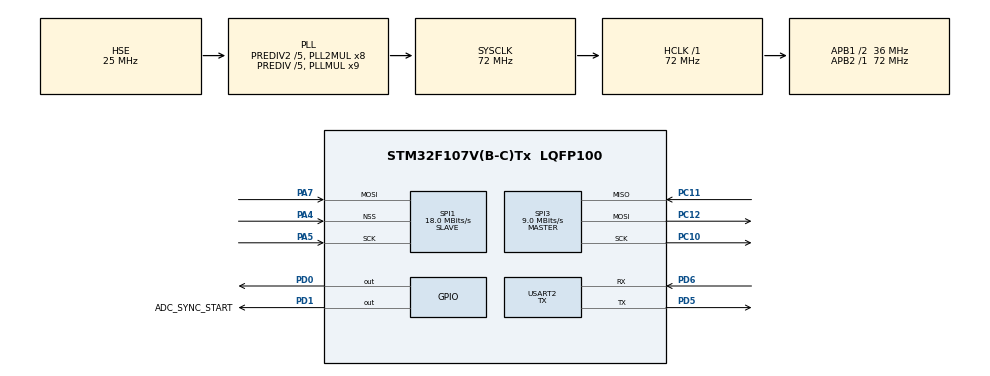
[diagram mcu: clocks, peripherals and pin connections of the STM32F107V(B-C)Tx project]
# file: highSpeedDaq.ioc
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Dma.Request0=SPI1_RX
Dma.Request1=USART2_TX
Dma.SPI1_RX.0.Direction=DMA_PERIPH_TO_MEMORY
Dma.SPI1_RX.0.Instance=DMA1_Channel2
Dma.SPI1_RX.0.MemDataAlignment=DMA_MDATAALIGN_BYTE
Dma.SPI1_RX.0.MemInc=DMA_MINC_ENABLE
Dma.SPI1_RX.0.Mode=DMA_NORMAL
Dma.SPI1_RX.0.PeriphDataAlignment=DMA_PDATAALIGN_BYTE
Dma.SPI1_RX.0.PeriphInc=DMA_PINC_DISABLE
Dma.SPI1_RX.0.Priority=DMA_PRIORITY_VERY_HIGH
Dma.USART2_TX.1.Direction=DMA_MEMORY_TO_PERIPH
Dma.USART2_TX.1.Instance=DMA1_Channel7
Dma.USART2_TX.1.MemDataAlignment=DMA_MDATAALIGN_BYTE
Dma.USART2_TX.1.MemInc=DMA_MINC_ENABLE
Dma.USART2_TX.1.Mode=DMA_NORMAL
Dma.USART2_TX.1.PeriphDataAlignment=DMA_PDATAALIGN_BYTE
Dma.USART2_TX.1.PeriphInc=DMA_PINC_DISABLE
Dma.USART2_TX.1.Priority=DMA_PRIORITY_LOW
Mcu.Family=STM32F1
Mcu.Name=STM32F107V(B-C)Tx
Mcu.Package=LQFP100
NVIC.DMA1_Channel2_IRQn=true\:0\:0\:false\:false\:true\:false\:true
NVIC.DMA1_Channel7_IRQn=true\:0\:0\:false\:false\:true\:false\:true
NVIC.PriorityGroup=NVIC_PRIORITYGROUP_4
OSC_IN.Mode=HSE-External-Oscillator
OSC_IN.Signal=RCC_OSC_IN
OSC_OUT.Mode=HSE-External-Oscillator
OSC_OUT.Signal=RCC_OSC_OUT
PA13.Mode=Serial_Wire
PA13.Signal=SYS_JTMS-SWDIO
PA14.Mode=Serial_Wire
PA14.Signal=SYS_JTCK-SWCLK
PA4.Mode=NSS_Signal_Hard_Input
PA4.Signal=SPI1_NSS
PA5.Mode=RX_Only_Simplex_Unidirect_Slave
PA5.Signal=SPI1_SCK
PA7.Mode=RX_Only_Simplex_Unidirect_Slave
PA7.Signal=SPI1_MOSI
PC10.Mode=Full_Duplex_Master
PC10.Signal=SPI3_SCK
PC11.Mode=Full_Duplex_Master
PC11.Signal=SPI3_MISO
PC12.Mode=Full_Duplex_Master
PC12.Signal=SPI3_MOSI
PD0.Signal=GPIO_Output
PD1.GPIO_Label=ADC_SYNC_START
PD1.Signal=GPIO_Output
PD5.Mode=Asynchronous
PD5.Signal=USART2_TX
PD6.Mode=Asynchronous
PD6.Signal=USART2_RX
ProjectManager.HeapSize=0x200
ProjectManager.StackSize=0x400
ProjectManager.TargetToolchain=STM32CubeIDE
RCC.AHBFreq_Value=72000000
RCC.APB1CLKDivider=RCC_HCLK_DIV2
RCC.APB1Freq_Value=36000000
RCC.APB1TimFreq_Value=72000000
RCC.APB2Freq_Value=72000000
RCC.APB2TimFreq_Value=72000000
RCC.HCLKFreq_Value=72000000
RCC.HSEDivPLL=RCC_HSE_PREDIV_DIV5
RCC.HSE_VALUE=25000000
RCC.PLLMUL=RCC_PLL_MUL9
RCC.PLLSourceVirtual=RCC_PLLSOURCE_HSE
RCC.Prediv1Source=RCC_PREDIV1_SOURCE_PLL2
RCC.Prediv2=RCC_HSE_PREDIV2_DIV5
RCC.SYSCLKFreq_VALUE=72000000
RCC.SYSCLKSource=RCC_SYSCLKSOURCE_PLLCLK
RCC.USBFreq_Value=48000000
SPI1.BaudRatePrescaler=SPI_BAUDRATEPRESCALER_4
SPI1.CLKPolarity=SPI_POLARITY_HIGH
SPI1.CalculateBaudRate=18.0 MBits/s
SPI1.DataSize=SPI_DATASIZE_8BIT
SPI1.Direction=SPI_DIRECTION_2LINES_RXONLY
SPI1.Mode=SPI_MODE_SLAVE
SPI1.VirtualNSS=VM_NSSHARD
SPI1.VirtualType=VM_SLAVE
SPI3.BaudRatePrescaler=SPI_BAUDRATEPRESCALER_4
SPI3.CalculateBaudRate=9.0 MBits/s
SPI3.Direction=SPI_DIRECTION_2LINES
SPI3.Mode=SPI_MODE_MASTER
SPI3.VirtualType=VM_MASTER
USART2.Mode=MODE_TX
USART2.VirtualMode=VM_ASYNC
board=custom

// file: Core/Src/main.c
/* USER CODE BEGIN Header */
/**
 ******************************************************************************
 * @file           : main.c
 * @brief          : Main program body
 ******************************************************************************
 * @attention
 *
 * <h2><center>&copy; Copyright (c) 2021 STMicroelectronics.
 * All rights reserved.</center></h2>
 *
 * This software component is licensed by ST under BSD 3-Clause license,
 * the "License"; You may not use this file except in compliance with the
 * License. You may obtain a copy of the License at:
 *                        opensource.org/licenses/BSD-3-Clause
 *
 ******************************************************************************
 */
/* USER CODE END Header */
#include "main.h"

/* USER CODE BEGIN Includes */
#include "debug.h"
#include "dwt.h"
#include "ad7768.h"

/* USER CODE END Includes */

/* USER CODE BEGIN PD */
#define SAMPLE_TOTAL_SIZE	10240
#define SAMPLE_DMA_SIZE		1024
#define SAMPLE_SIZE			64

/* USER CODE END PD */

SPI_HandleTypeDef hspi1;
SPI_HandleTypeDef hspi3;
DMA_HandleTypeDef hdma_spi1_rx;

UART_HandleTypeDef huart2;
DMA_HandleTypeDef hdma_usart2_tx;

void SystemClock_Config(void);
static void MX_GPIO_Init(void);
static void MX_DMA_Init(void);
static void MX_SPI3_Init(void);
static void MX_SPI1_Init(void);
static void MX_USART2_UART_Init(void);

/* USER CODE BEGIN 0 */

uint8_t EXTI0_Flag = 0;
uint8_t SPI_RxDMABuffer[SAMPLE_DMA_SIZE * 10] = {0};
uint8_t SPI_RxBuffer[1024] = {0};
uint8_t started = 0;
uint32_t RxBuf_Idn = 0;
uint32_t RxBufDMA_Idn = 0;

uint32_t extCnt = 0;
void HAL_GPIO_EXTI_Callback(uint16_t GPIO_Pin)
{

	if (GPIO_Pin == GPIO_PIN_4)
	{
		__HAL_SPI_ENABLE(&hspi1);
		//__HAL_GPIO_EXTI_CLEAR_IT(EXTI4_IRQn);
		EXTI0_Flag = 1;

		HAL_GPIO_WritePin(GPIOD, GPIO_PIN_6, extCnt%2);
		extCnt++;
	}

}

void HAL_SPI_RxHalfCpltCallback(SPI_HandleTypeDef *hspi)
{
	//dbg_printf("RX\r\n");
}

void HAL_SPI_RxCpltCallback(SPI_HandleTypeDef *hspi)
{
	//dbg_printf("RX ALL\r\n");
	__HAL_SPI_DISABLE(&hspi1);

	RxBufDMA_Idn += SAMPLE_DMA_SIZE;
	__HAL_DMA_DISABLE_IT(&hdma_spi1_rx, DMA_IT_HT);
	__HAL_DMA_ENABLE_IT(&hdma_spi1_rx, DMA_IT_TC);
	HAL_SPI_Receive_DMA(&hspi1, &SPI_RxDMABuffer[RxBufDMA_Idn], SAMPLE_DMA_SIZE);
}

/* USER CODE END 0 */

int main(void)
{

  /* MCU Configuration--------------------------------------------------------*/

  /* Reset of all peripherals, Initializes the Flash interface and the Systick. */
  HAL_Init();

  /* Configure the system clock */
  SystemClock_Config();

  /* Initialize all configured peripherals */
  MX_GPIO_Init();
  MX_DMA_Init();
  MX_SPI3_Init();
  MX_SPI1_Init();
  MX_USART2_UART_Init();
  /* USER CODE BEGIN 2 */

	debug_init();
	DWT_Init();
	SystemCoreClockUpdate();

	dbg_printf("Clock : %d\r\n", SystemCoreClock);

	AD7768_setup(AD7768_INTERFACE_CFG_DCLK_DIV(AD7768_DCLK_DIV_2), AD7768_CH_MODE_FILTER_TYPE | AD7768_CH_MODE_DEC_RATE(AD7768_DEC_X32),
			AD7768_PWR_MODE_POWER_MODE(AD7768_FAST) | AD7768_PWR_MODE_MCLK_DIV(AD7768_MCLK_DIV_4));
	HAL_Delay(100);

	GPIO_InitTypeDef GPIO_InitStruct = {0};
	/*Configure GPIO pin Output Level */
	  HAL_GPIO_WritePin(GPIOD, GPIO_PIN_6, GPIO_PIN_RESET);

	  /*Configure GPIO pins : PD0 ADC_SYNC_START_Pin */
	  GPIO_InitStruct.Pin = GPIO_PIN_6;
	  GPIO_InitStruct.Mode = GPIO_MODE_OUTPUT_PP;
	  GPIO_InitStruct.Pull = GPIO_NOPULL;
	  GPIO_InitStruct.Speed = GPIO_SPEED_FREQ_HIGH;
	  HAL_GPIO_Init(GPIOD, &GPIO_InitStruct);
  /* USER CODE END 2 */

  /* Infinite loop */
  /* USER CODE BEGIN WHILE */
	uint8_t Rx_temp;
	uint8_t initial = 1;
	uint32_t startMsec = 0;
	uint32_t starttime = 0;

	__HAL_DMA_DISABLE_IT(&hdma_spi1_rx, DMA_IT_HT);
	__HAL_DMA_ENABLE_IT(&hdma_spi1_rx, DMA_IT_TC);
	HAL_SPI_Receive_DMA(&hspi1, SPI_RxDMABuffer, SAMPLE_DMA_SIZE);

	while (1)
	{
    /* USER CODE END WHILE */

    /* USER CODE BEGIN 3 */
		if (EXTI0_Flag)
		{

			EXTI0_Flag = 0;
			//Rx_temp = *(__IO uint8_t *)&hspi1.Instance->DR;
			/*if (Rx_temp > 0x00)
			  {
				  dbg_printf("%x \r\n", Rx_temp);
			  }*/
			__HAL_SPI_ENABLE(&hspi1);
			if (initial)
			{
				initial = 0;
				starttime = DWT->CYCCNT;
				startMsec = HAL_GetTick();
			}

		}
		else
		{

		}
		if (RxBufDMA_Idn >= SAMPLE_DMA_SIZE * 10)
		{

			HAL_DMA_Abort(&hdma_spi1_rx);
			RxBuf_Idn = 0;
#if 0
			uint32_t packetCnt = 0;
			uint32_t finishTime = DWT->CYCCNT;
			uint32_t finishMsec = HAL_GetTick();
			float finishRecv = (float)(finishTime/72);
			float startRecv = (float)(starttime/72);
			float usecPass = (finishRecv - startRecv);
			//msecPass = (float)((msecPass / 1000000));
			//dbg_printf("%f - %f = %f    %d - %d\r\n", finishRecv, startRecv, usecPass, startMsec, finishMsec);
			for (int i=0; i<10240; i++)
			{
				if (SPI_RxDMABuffer[i] == 0x20 && SPI_RxDMABuffer[i+4] == 0x23)
				{
					for (int idx=0; idx<32; idx++)
					{
						SPI_RxDMABuffer[i + idx] = SPI_RxDMABuffer[i + idx] >> 1;
					}
					i--;
				}
				if (SPI_RxDMABuffer[i] == 0x10 && SPI_RxDMABuffer[i+4] == 0x23)
				{
					for (int idx=1; idx<32; idx++)
					{
						SPI_RxDMABuffer[i + idx] = SPI_RxDMABuffer[i + idx] >> 1;
					}
					i--;
				}
				if ((SPI_RxDMABuffer[i] == 0x10 && SPI_RxDMABuffer[i+4] == 0x11))
					packetCnt++;
			}
			//dbg_printf("Packet : %d - %f kHz\n", packetCnt, (float)packetCnt*1000000/usecPass);
			float freqKhz = (float)((float)(packetCnt*1000000/usecPass) / 1000);
			RxBuf_Idn = 0;
			starttime = finishTime;
#endif
		}

	}
  /* USER CODE END 3 */
}

void SystemClock_Config(void)
{
  RCC_OscInitTypeDef RCC_OscInitStruct = {0};
  RCC_ClkInitTypeDef RCC_ClkInitStruct = {0};

  /** Initializes the RCC Oscillators according to the specified parameters
  * in the RCC_OscInitTypeDef structure.
  */
  RCC_OscInitStruct.OscillatorType = RCC_OSCILLATORTYPE_HSE;
  RCC_OscInitStruct.HSEState = RCC_HSE_ON;
  RCC_OscInitStruct.HSEPredivValue = RCC_HSE_PREDIV_DIV5;
  RCC_OscInitStruct.HSIState = RCC_HSI_ON;
  RCC_OscInitStruct.Prediv1Source = RCC_PREDIV1_SOURCE_PLL2;
  RCC_OscInitStruct.PLL.PLLState = RCC_PLL_ON;
  RCC_OscInitStruct.PLL.PLLSource = RCC_PLLSOURCE_HSE;
  RCC_OscInitStruct.PLL.PLLMUL = RCC_PLL_MUL9;
  RCC_OscInitStruct.PLL2.PLL2State = RCC_PLL2_ON;
  RCC_OscInitStruct.PLL2.PLL2MUL = RCC_PLL2_MUL8;
  RCC_OscInitStruct.PLL2.HSEPrediv2Value = RCC_HSE_PREDIV2_DIV5;
  if (HAL_RCC_OscConfig(&RCC_OscInitStruct) != HAL_OK)
  {
    Error_Handler();
  }
  /** Initializes the CPU, AHB and APB buses clocks
  */
  RCC_ClkInitStruct.ClockType = RCC_CLOCKTYPE_HCLK|RCC_CLOCKTYPE_SYSCLK
                              |RCC_CLOCKTYPE_PCLK1|RCC_CLOCKTYPE_PCLK2;
  RCC_ClkInitStruct.SYSCLKSource = RCC_SYSCLKSOURCE_PLLCLK;
  RCC_ClkInitStruct.AHBCLKDivider = RCC_SYSCLK_DIV1;
  RCC_ClkInitStruct.APB1CLKDivider = RCC_HCLK_DIV2;
  RCC_ClkInitStruct.APB2CLKDivider = RCC_HCLK_DIV1;

  if (HAL_RCC_ClockConfig(&RCC_ClkInitStruct, FLASH_LATENCY_2) != HAL_OK)
  {
    Error_Handler();
  }
  /** Configure the Systick interrupt time
  */
  __HAL_RCC_PLLI2S_ENABLE();
}

static void MX_SPI1_Init(void)
{

  /* SPI1 parameter configuration*/
  hspi1.Instance = SPI1;
  hspi1.Init.Mode = SPI_MODE_SLAVE;
  hspi1.Init.Direction = SPI_DIRECTION_2LINES_RXONLY;
  hspi1.Init.DataSize = SPI_DATASIZE_8BIT;
  hspi1.Init.CLKPolarity = SPI_POLARITY_HIGH;
  hspi1.Init.CLKPhase = SPI_PHASE_1EDGE;
  hspi1.Init.NSS = SPI_NSS_HARD_INPUT;
  hspi1.Init.BaudRatePrescaler = SPI_BAUDRATEPRESCALER_4;
  hspi1.Init.FirstBit = SPI_FIRSTBIT_MSB;
  hspi1.Init.TIMode = SPI_TIMODE_DISABLE;
  hspi1.Init.CRCCalculation = SPI_CRCCALCULATION_DISABLE;
  hspi1.Init.CRCPolynomial = 10;
  if (HAL_SPI_Init(&hspi1) != HAL_OK)
  {
    Error_Handler();
  }

}

static void MX_SPI3_Init(void)
{

  /* SPI3 parameter configuration*/
  hspi3.Instance = SPI3;
  hspi3.Init.Mode = SPI_MODE_MASTER;
  hspi3.Init.Direction = SPI_DIRECTION_2LINES;
  hspi3.Init.DataSize = SPI_DATASIZE_8BIT;
  hspi3.Init.CLKPolarity = SPI_POLARITY_LOW;
  hspi3.Init.CLKPhase = SPI_PHASE_1EDGE;
  hspi3.Init.NSS = SPI_NSS_SOFT;
  hspi3.Init.BaudRatePrescaler = SPI_BAUDRATEPRESCALER_4;
  hspi3.Init.FirstBit = SPI_FIRSTBIT_MSB;
  hspi3.Init.TIMode = SPI_TIMODE_DISABLE;
  hspi3.Init.CRCCalculation = SPI_CRCCALCULATION_DISABLE;
  hspi3.Init.CRCPolynomial = 10;
  if (HAL_SPI_Init(&hspi3) != HAL_OK)
  {
    Error_Handler();
  }

}

static void MX_USART2_UART_Init(void)
{

  huart2.Instance = USART2;
  huart2.Init.BaudRate = 115200;
  huart2.Init.WordLength = UART_WORDLENGTH_8B;
  huart2.Init.StopBits = UART_STOPBITS_1;
  huart2.Init.Parity = UART_PARITY_NONE;
  huart2.Init.Mode = UART_MODE_TX;
  huart2.Init.HwFlowCtl = UART_HWCONTROL_NONE;
  huart2.Init.OverSampling = UART_OVERSAMPLING_16;
  if (HAL_UART_Init(&huart2) != HAL_OK)
  {
    Error_Handler();
  }

}

static void MX_DMA_Init(void)
{

  /* DMA controller clock enable */
  __HAL_RCC_DMA1_CLK_ENABLE();

  /* DMA interrupt init */
  /* DMA1_Channel2_IRQn interrupt configuration */
  HAL_NVIC_SetPriority(DMA1_Channel2_IRQn, 0, 0);
  HAL_NVIC_EnableIRQ(DMA1_Channel2_IRQn);
  /* DMA1_Channel7_IRQn interrupt configuration */
  HAL_NVIC_SetPriority(DMA1_Channel7_IRQn, 0, 0);
  HAL_NVIC_EnableIRQ(DMA1_Channel7_IRQn);

}

static void MX_GPIO_Init(void)
{
  GPIO_InitTypeDef GPIO_InitStruct = {0};

  /* GPIO Ports Clock Enable */
  __HAL_RCC_GPIOA_CLK_ENABLE();
  __HAL_RCC_GPIOC_CLK_ENABLE();
  __HAL_RCC_GPIOD_CLK_ENABLE();

  /*Configure GPIO pin Output Level */
  HAL_GPIO_WritePin(GPIOD, GPIO_PIN_0|ADC_SYNC_START_Pin, GPIO_PIN_RESET);

  /*Configure GPIO pins : PD0 ADC_SYNC_START_Pin */
  GPIO_InitStruct.Pin = GPIO_PIN_0|ADC_SYNC_START_Pin;
  GPIO_InitStruct.Mode = GPIO_MODE_OUTPUT_PP;
  GPIO_InitStruct.Pull = GPIO_NOPULL;
  GPIO_InitStruct.Speed = GPIO_SPEED_FREQ_LOW;
  HAL_GPIO_Init(GPIOD, &GPIO_InitStruct);

}

void Error_Handler(void)
{
	__disable_irq();
	while (1)
	{
	}
}

/************************ (C) COPYRIGHT STMicroelectronics *****END OF FILE****/
